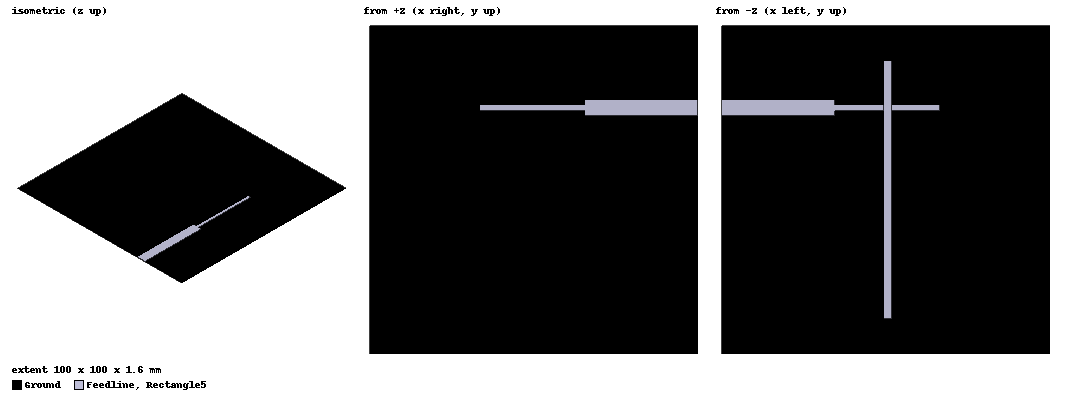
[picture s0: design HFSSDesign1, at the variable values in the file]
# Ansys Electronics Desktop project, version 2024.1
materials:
  vacuum: permittivity=1

design HFSSDesign1 (HFSS, HFSS Terminal Network, model units mm)
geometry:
  Ground = rectangle(corner=(-50mm, -50mm, 0mm), x_size=100mm, y_size=100mm)
  Feedline = rectangle(corner=(50mm, 27.46mm, 0mm), x_size=-66.6mm, y_size=-4.92mm)
  Rectangle3 = rectangle(corner=(-16.6mm, 24.2mm, 0mm), x_size=32mm, y_size=-1.66mm)
  Rectangle4 = rectangle(corner=(-16.6mm, 27.46mm, 0mm), x_size=32mm, y_size=-1.66mm)
  Feedline.subtract(Rectangle3, Rectangle4)
  Rectangle5 = rectangle(corner=(-1.85mm, 39.4mm, -1.6mm), x_size=2.5mm, y_size=-78.8mm)
